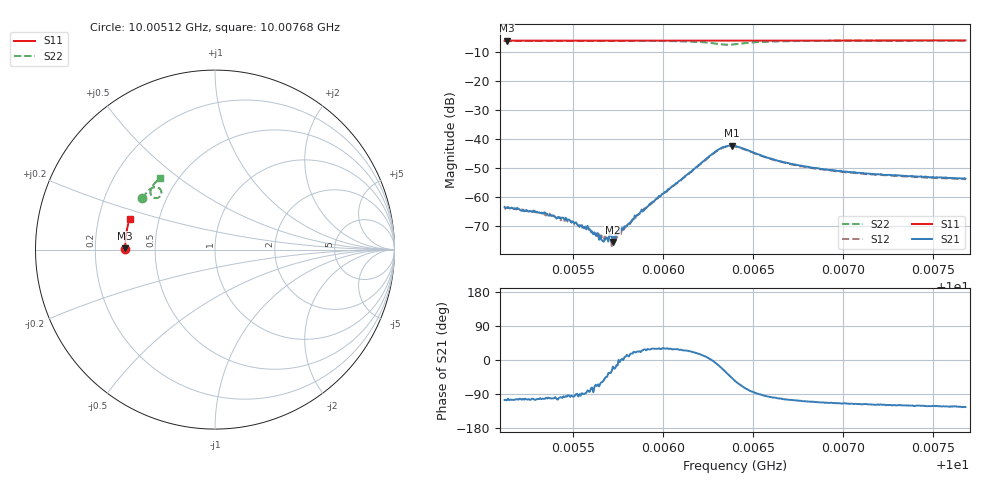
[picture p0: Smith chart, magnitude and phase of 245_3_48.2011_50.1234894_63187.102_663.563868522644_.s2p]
#  HZ  S  RI  R  50.00
! Rohde & Schwarz Vector Network Analyzer
! Rohde-Schwarz,ZNB20-2Port,1311601062101988,3.16
! Created: UTC 3/20/2024, 11:47:02 AM
! freq[Hz]  re:S11  im:S11  re:S21  im:S21  re:S12  im:S12  re:S22  im:S22
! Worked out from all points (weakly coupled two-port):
!   401 points, 10.00512 GHz to 10.00768 GHz, reference 50 ohm
!   highest |S21| = -42.25 dB at 10.00638 GHz (marker M1); lowest = -75.6 dB at 10.00572 GHz (marker M2)
!   lowest |S11| = -6.0 dB at 10.00513 GHz (marker M3), VSWR 3.00, Z = 16.7 + j0.281 ohm
!   |S11| at or under -10 dB: nowhere
!   |S22| runs from -7.4 to -6.0 dB; largest |S21 - S12| = 0.00045
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1.0005122e10  -0.4999 0.0055  -0.000183 -0.000649  -0.000114 -0.000601  -0.4049 0.2852
1.0005135e10  -0.4998 0.00633  -0.000184 -0.000626  -0.000155 -0.000637  -0.4044 0.2858
1.0005346e10  -0.5 0.0201  -0.000117 -0.000529  -4.09e-05 -0.000489  -0.3958 0.2983
1.0005473e10  -0.4998 0.0284  -1.98e-05 -0.000406  -1.08e-05 -0.000375  -0.3904 0.306
1.000555e10  -0.4997 0.0334  1.4e-05 -0.000325  4.14e-05 -0.000309  -0.387 0.3108
1.0005595e10  -0.4996 0.0363  2.89e-05 -0.000276  6.01e-05 -0.000238  -0.3848 0.3134
1.0005659e10  -0.4993 0.0404  9.56e-05 -0.000157  0.000125 -0.000179  -0.3816 0.3174
1.0005697e10  -0.4992 0.043  0.00014 -9.7e-05  0.000152 -0.000104  -0.3795 0.3197
1.0005723e10  -0.4991 0.0445  0.000159 -5e-05  0.000184 -7.64e-05  -0.378 0.3215
1.0005735e10  -0.4992 0.0455  0.000176 -7.03e-05  0.000219 -5.82e-05  -0.3774 0.3222
1.0005755e10  -0.499 0.0466  0.000239 1.32e-06  0.000212 -7.27e-06  -0.3763 0.3234
1.0005786e10  -0.4988 0.0487  0.000307 4.15e-05  0.000281 6.35e-05  -0.3744 0.3255
1.0005863e10  -0.4985 0.0538  0.000468 0.000189  0.000442 0.000215  -0.3693 0.3305
1.0005978e10  -0.4977 0.0611  0.000897 0.000534  0.000836 0.000544  -0.3599 0.3382
1.0006298e10  -0.495 0.0816  0.00617 -0.00108  0.0061 -0.00075  -0.3 0.3267
1.0006342e10  -0.4946 0.0843  0.00648 -0.00359  0.0065 -0.00323  -0.3011 0.3042
1.0006381e10  -0.4943 0.0864  0.00529 -0.00562  0.00545 -0.0052  -0.3155 0.2896
1.00064e10  -0.4942 0.0874  0.00432 -0.00622  0.00454 -0.00587  -0.3249 0.2869
1.000663e10  -0.4923 0.1022  -0.000761 -0.00426  -0.00059 -0.00422  -0.3591 0.3281
1.0006828e10  -0.4901 0.1149  -0.0011 -0.00301  -0.000965 -0.00303  -0.3506 0.3494
1.0007256e10  -0.4837 0.1419  -0.00116 -0.00212  -0.00105 -0.0021  -0.3287 0.3772
1.0007677e10  -0.4763 0.1679  -0.00116 -0.00171  -0.00105 -0.00174  -0.3072 0.3979
